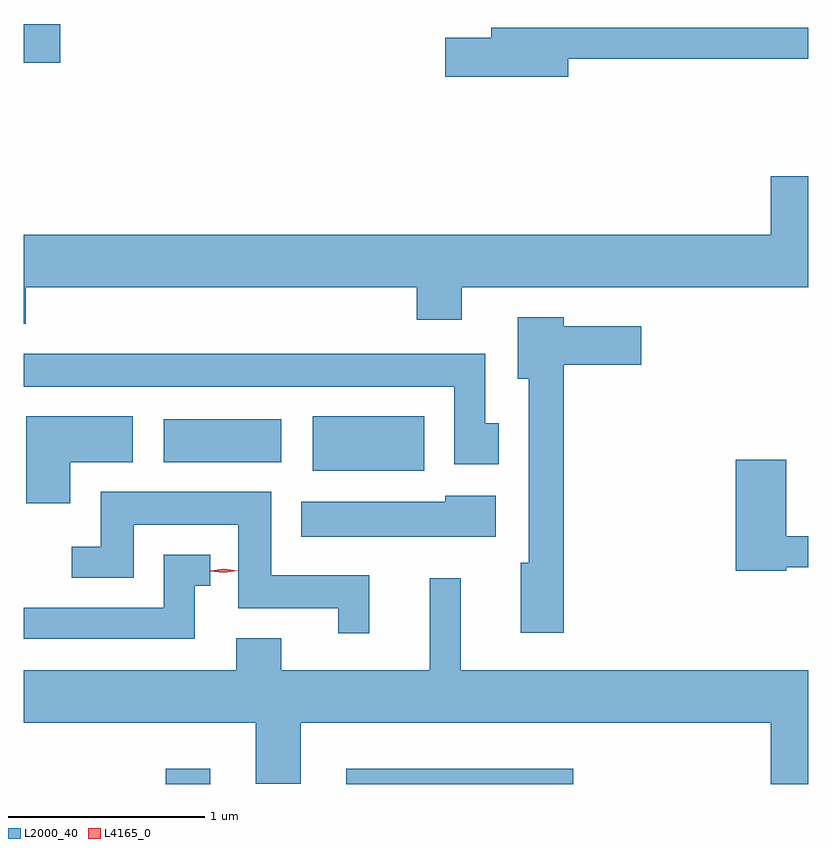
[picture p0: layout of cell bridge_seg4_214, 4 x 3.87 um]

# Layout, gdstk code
import gdstk
lib = gdstk.Library(unit=1e-6, precision=1e-09)
def R(c, l, rs):  # rectangles x0, y0, x1, y1
    for r in rs: c.add(gdstk.rectangle(r[:2], r[2:], *l))
def P(c, l, *ps):  # polygons
    for p in ps: c.add(gdstk.Polygon(p, *l))
L2000_40 = (2000, 40)
L4165_0 = (4165, 0)

bridge_seg4_214 = lib.new_cell('bridge_seg4_214')
R(bridge_seg4_214, L2000_40, [(971.231,1270.005,971.459,1270.084), (972.151,1270.005,973.308,1270.084), (971.981,1271.601,972.549,1271.879), (971.221,1271.646,971.819,1271.864), (970.507,1273.681,970.694,1273.879)])
P(bridge_seg4_214, L2000_40, [(973.284,1273.701),(974.507,1273.701),(974.507,1273.859),(972.891,1273.859),(972.891,1273.809),(972.656,1273.809),(972.656,1273.611),(973.284,1273.611)],
  [(970.519,1272.536),(972.511,1272.536),(972.511,1272.371),(972.739,1272.371),(972.739,1272.536),(974.507,1272.536),(974.507,1273.104),(974.316,1273.104),(974.316,1272.804),(970.507,1272.804),(970.507,1272.351),(970.519,1272.351)],
  [(973.259,1272.141),(973.654,1272.141),(973.654,1272.339),(973.259,1272.339),(973.259,1272.384),(973.026,1272.384),(973.026,1272.071),(973.081,1272.071),(973.081,1271.134),(973.041,1271.134),(973.041,1270.776),(973.259,1270.776)],
  [(972.929,1271.844),(972.859,1271.844),(972.859,1272.199),(970.507,1272.199),(970.507,1272.031),(972.701,1272.031),(972.701,1271.636),(972.929,1271.636)],
  [(970.744,1271.646),(971.064,1271.646),(971.064,1271.879),(970.521,1271.879),(970.521,1271.436),(970.744,1271.436)],
  [(974.394,1271.111),(974.507,1271.111),(974.507,1271.269),(974.394,1271.269),(974.394,1271.659),(974.136,1271.659),(974.136,1271.091),(974.394,1271.091)],
  [(972.269,1271.069),(971.769,1271.069),(971.769,1271.494),(970.901,1271.494),(970.901,1271.214),(970.753,1271.214),(970.753,1271.056),(971.069,1271.056),(971.069,1271.326),(971.601,1271.326),(971.601,1270.901),(972.111,1270.901),(972.111,1270.773),(972.269,1270.773)],
  [(972.914,1271.474),(972.656,1271.474),(972.656,1271.444),(971.921,1271.444),(971.921,1271.266),(972.914,1271.266)],
  [(971.379,1271.016),(971.458,1271.016),(971.458,1271.174),(971.221,1271.174),(971.221,1270.904),(970.507,1270.904),(970.507,1270.746),(971.379,1270.746)],
  [(974.507,1270.584),(972.734,1270.584),(972.734,1271.053),(972.576,1271.053),(972.576,1270.584),(971.819,1270.584),(971.819,1270.749),(971.591,1270.749),(971.591,1270.584),(970.507,1270.584),(970.507,1270.316),(971.691,1270.316),(971.691,1270.006),(971.919,1270.006),(971.919,1270.316),(974.316,1270.316),(974.316,1270.005),(974.507,1270.005)])
P(bridge_seg4_214, L4165_0, [(971.528,1271.081),(971.459,1271.09),(971.459,1271.09),(971.459,1271.091),(971.528,1271.101),(971.598,1271.092),(971.598,1271.091),(971.598,1271.091)])

lib.write_gds('bridge_seg4_214.gds')
